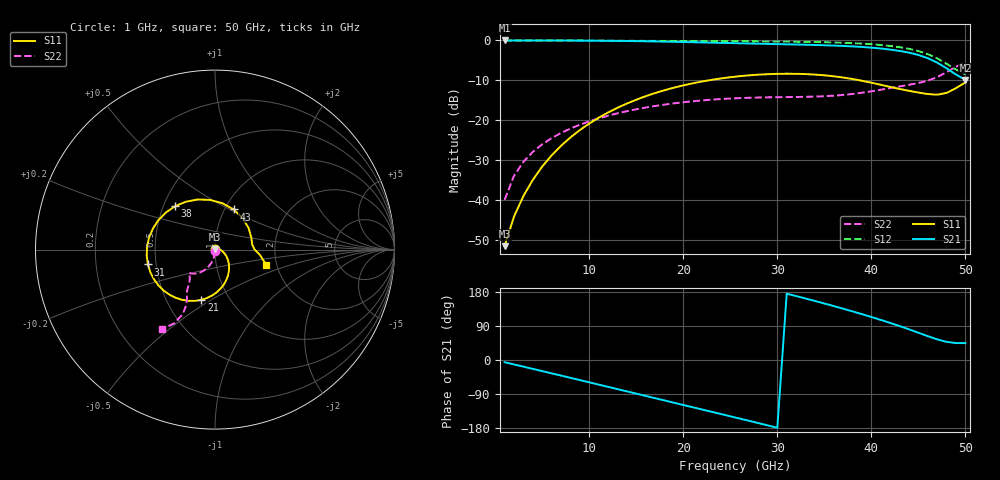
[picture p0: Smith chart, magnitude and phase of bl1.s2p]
! Impedora 0.10.0 via model, case bl1 (fullwave/cases.json), 2026-11-19
! Blind via: barrel ends on a stripline 0.2 mm into the second plane pair (0.6 mm), 0.5 mm pad: with its pads and traces, ports at the far end of each trace, after the 3D port calibration.
! Ports: 1 = upper end, 2 = lower end, 50 ohm.
! Compared with the edge 3D mesh.
# Hz S RI R 50
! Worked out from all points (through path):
!   50 points, 1 GHz to 50 GHz, reference 50 ohm
!   highest |S21| = 0.00 dB at 1 GHz (marker M1); lowest = -9.9 dB at 50 GHz (marker M2)
!   group delay of S21, straight-line fit = 17.7 ps
!   lowest |S11| = -51.6 dB at 1 GHz (marker M3), VSWR 1.01, Z = 50.1 + j0.238 ohm
!   |S11| at or under -10 dB: start of sweep to 22.7 GHz; 38.77 GHz to end of sweep
!   |S22| runs from -39.9 to -5.5 dB; largest |S21 - S12| = 1.6
!   S11 on the Smith chart (normalised r, x): 1 GHz: 1.00, +0.00; 21 GHz: 0.74, -0.45; 31 GHz: 0.45, -0.09; 38 GHz: 0.57, +0.31; 43 GHz: 1.10, +0.52; 50 GHz: 1.76, -0.33
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1e9  0.00117 0.00237  0.9948 -0.102  0.9991 -0.0419  -0.000349 -0.0101
2e9  0.00463 0.00415  0.9791 -0.2029  0.9962 -0.0837  -0.0014 -0.0201
3e9  0.0102 0.00478  0.9531 -0.3018  0.9916 -0.1253  -0.00313 -0.03
4e9  0.0175 0.00374  0.917 -0.3976  0.985 -0.1666  -0.00555 -0.0397
7e9  0.046 -0.0135  0.7519 -0.6563  0.9546 -0.2883  -0.0167 -0.0672
1e10  0.0716 -0.056  0.5135 -0.8515  0.9085 -0.4049  -0.0329 -0.0911
1.4e10  0.0722 -0.145  0.1234 -0.9763  0.824 -0.5494  -0.06 -0.1152
1.8e10  0.0102 -0.2375  -0.2786 -0.9259  0.715 -0.6784  -0.0893 -0.1293
2.1e10  -0.0762 -0.2801  -0.5406 -0.7818  0.6181 -0.7631  -0.11 -0.1335
2.4e10  -0.1819 -0.2802  -0.7408 -0.5671  0.5083 -0.836  -0.1273 -0.1334
2.6e10  -0.2525 -0.2519  -0.8319 -0.3963  0.4276 -0.8772  -0.1361 -0.1319
2.9e10  -0.3398 -0.1658  -0.8978 -0.1154  0.2947 -0.9254  -0.144 -0.1297
3.1e10  -0.3738 -0.0828  -0.8914 0.0785  0.1976 -0.9464  -0.1458 -0.1298
3.4e10  -0.3679 0.0651  -0.8004 0.3603  0.0389 -0.9552  -0.144 -0.1358
3.8e10  -0.2232 0.2413  -0.5221 0.661  -0.1923 -0.9051  -0.1405 -0.1609
4e10  -0.0972 0.2791  -0.3241 0.745  -0.3091 -0.8421  -0.1427 -0.1811
4.2e10  0.0409 0.2585  -0.1044 0.7616  -0.4173 -0.745  -0.1489 -0.2045
4.3e10  0.1034 0.224  0.0061 0.7396  -0.4636 -0.6813  -0.1526 -0.217
4.5e10  0.1875 0.1198  0.2035 0.6258  -0.5228 -0.5199  -0.1567 -0.2472
4.7e10  0.2073 0.0271  0.3072 0.4292  -0.4935 -0.3349  -0.1597 -0.3082
4.9e10  0.2506 -0.0299  0.2661 0.263  -0.371 -0.2234  -0.2252 -0.4096
5e10  0.2855 -0.085  0.2281 0.2246  -0.3126 -0.2085  -0.2952 -0.4437
